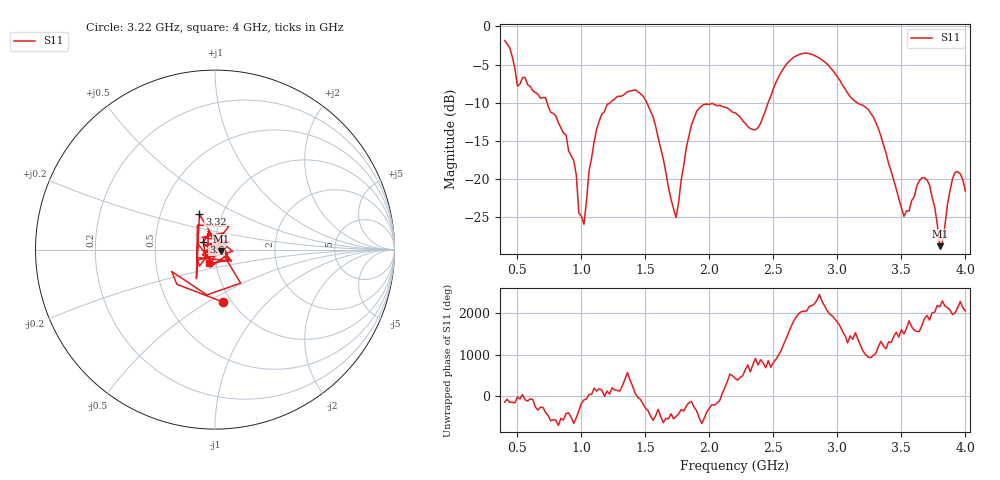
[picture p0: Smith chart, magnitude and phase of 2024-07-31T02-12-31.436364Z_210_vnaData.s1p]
!Created with skrf (http://scikit-rf.org).
# Hz S RI R 50.0
!freq ReS11 ImS11
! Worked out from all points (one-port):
!   181 points, 400 MHz to 4 GHz, reference 50 ohm
!   lowest |S11| = -28.8 dB at 3.8 GHz (marker M1), VSWR 1.08, Z = 53.7 - j0.942 ohm
!   |S11| at or under -10 dB: 732.1 MHz to 1.224 GHz (491.6 MHz wide, 50.3 % of centre); 1.511 GHz to 2.458 GHz (947.3 MHz wide, 47.7 % of centre); 3.155 GHz to end of sweep
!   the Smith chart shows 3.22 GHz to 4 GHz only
!   S11 on the Smith chart (normalised r, x): 3.22 GHz: 0.91, -0.58; 3.32 GHz: 0.78, +0.32; 3.6 GHz: 0.88, +0.07; 4 GHz: 0.93, -0.14
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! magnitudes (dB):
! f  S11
! 400 MHz  -1.8
! 500 MHz  -7.8
! 720 MHz  -9.3
! 860 MHz  -13.9
! 940 MHz  -17.5
! 980 MHz  -24.4
! 1.02 GHz  -25.9
! 1.12 GHz  -13.4
! 1.3 GHz  -9.1
! 1.5 GHz  -9.6
! 1.74 GHz  -25.0
! 1.76 GHz  -22.9
! 1.82 GHz  -15.8
! 1.9 GHz  -11.1
! 2.2 GHz  -11.3
! 2.38 GHz  -13.3
! 2.66 GHz  -4.0
! 2.86 GHz  -4.1
! 3.1 GHz  -9.2
! 3.22 GHz  -10.6
! 3.32 GHz  -13.4
! 3.52 GHz  -24.9
! 3.56 GHz  -24.2
! 3.6 GHz  -22.3
! 3.7 GHz  -20.1
! 3.8 GHz  -28.8
! 3.92 GHz  -19.1
! 4 GHz  -21.5
